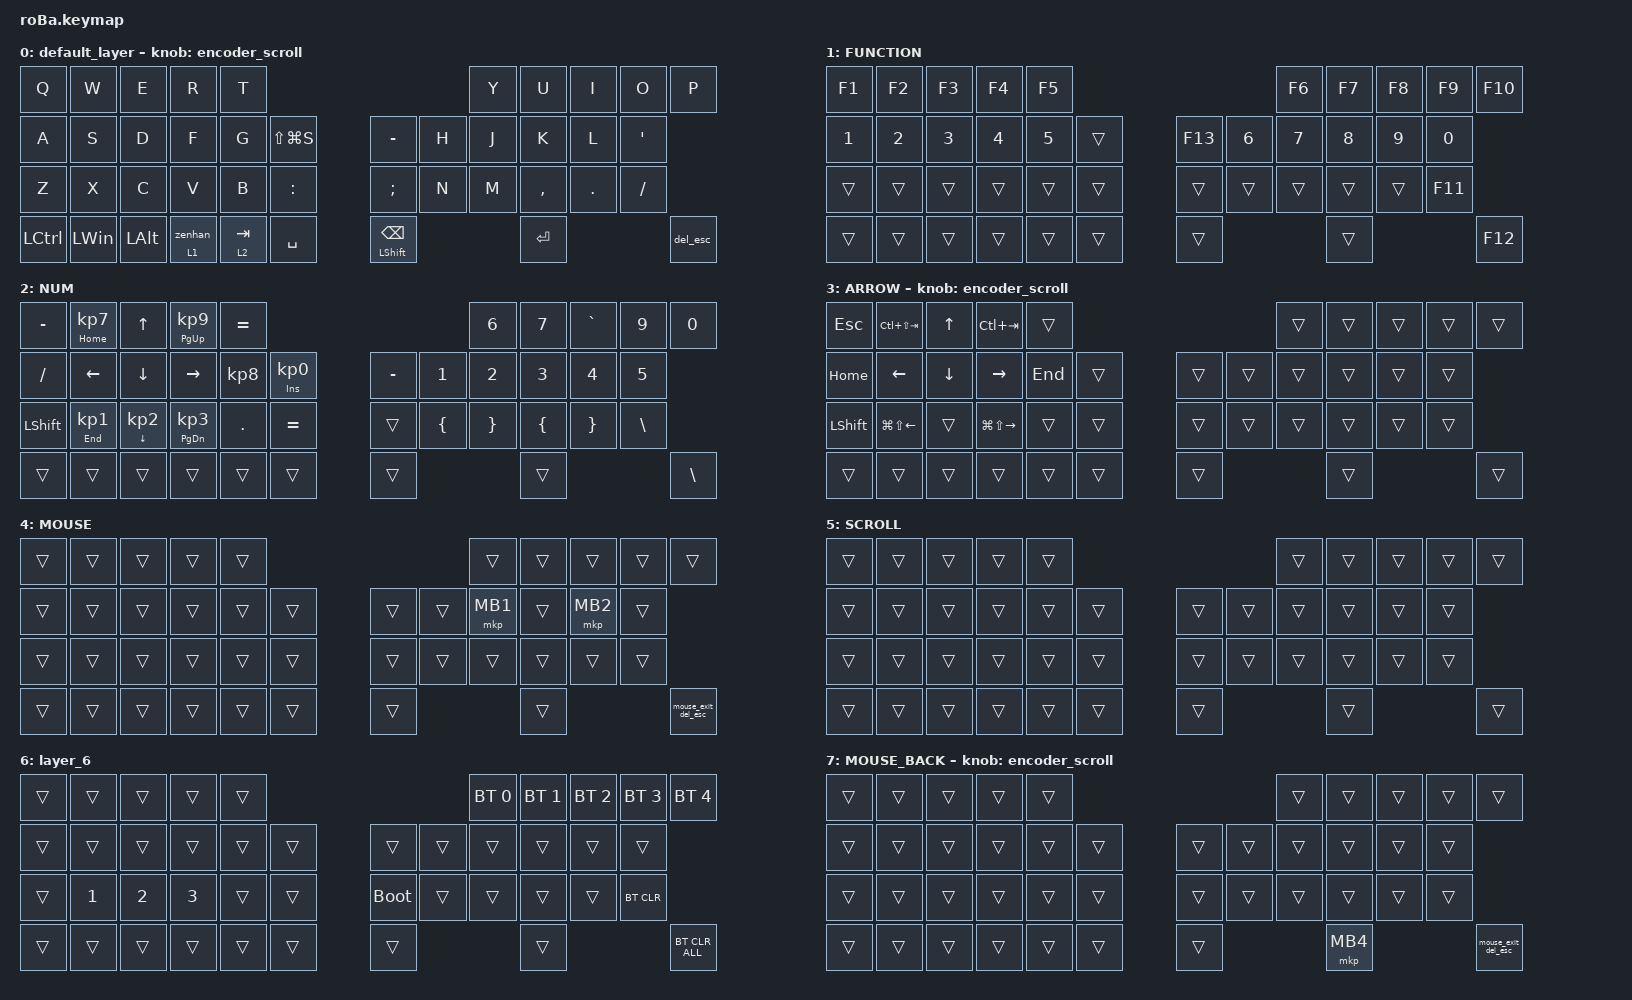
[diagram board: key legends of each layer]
#include <behaviors.dtsi>
#include <dt-bindings/zmk/bt.h>
#include <dt-bindings/zmk/keys.h>
#include <dt-bindings/zmk/modifiers.h>

#define ZMK_POINTING_DEFAULT_SCRL_VAL 80
#include <dt-bindings/zmk/pointing.h>

&mt {
    flavor = "balanced";
    quick-tap-ms = <0>;
};

&trackball {
    automouse-layer = <4>;
    scroll-layers = <5>;

    // arrows {
    //     layers = <3>;
    //     bindings =
    //         <&kp RIGHT_ARROW>,
    //         <&kp LEFT_ARROW>,
    //         <&kp UP_ARROW>,
    //         <&kp DOWN_ARROW>;

    //     tick = <10>;
    //     wait-ms = <5>;
    //     tap-ms = <5>;
    // };
};

/ {
    combos {
        compatible = "zmk,combos";

        tab {
            bindings = <&kp TAB>;
            key-positions = <11 12>;
        };

        shift_tab {
            bindings = <&kp LS(TAB)>;
            key-positions = <12 13>;
        };

        muhennkann {
            bindings = <&to_layer_0 INT_MUHENKAN>;
            key-positions = <11 10>;
        };

        double_quotation {
            bindings = <&kp DOUBLE_QUOTES>;
            key-positions = <20 21>;
        };

        eq {
            bindings = <&kp EQUAL>;
            key-positions = <24 25>;
        };
    };

    macros {
        zenhan: zenhan {
            compatible = "zmk,behavior-macro";
            #binding-cells = <0>;
            wait-ms = <40>;
            tap-ms = <40>;
            bindings = <&macro_press &kp LEFT_ALT &macro_tap &kp GRAVE &macro_release &kp LEFT_ALT>;
            label = "ZENHAN";
        };

        to_layer_0: to_layer_0 {
            compatible = "zmk,behavior-macro-one-param";
            #binding-cells = <1>;
            bindings = <&to 0 &macro_param_1to1 &kp MACRO_PLACEHOLDER>;
            label = "TO_LAYER_0";
        };
    };

    behaviors {
    lt_to_layer_0: lt_to_layer_0 {
        compatible = "zmk,behavior-hold-tap";
        label = "LAYER_TAP_TO_0";
        bindings = <&mo>, <&to_layer_0>;
        #binding-cells = <2>;
        tapping-term-ms = <200>;
    };

    zenhan_layer: zenhan_layer {
        compatible = "zmk,behavior-hold-tap";
        label = "ZENHAN_LAYER";
        bindings = <&mo>, <&zenhan>;
        #binding-cells = <2>;
        flavor = "tap-preferred";
        tapping-term-ms = <200>;
        quick-tap-ms = <0>;
    };

    backspace_shift: backspace_shift {
        compatible = "zmk,behavior-hold-tap";
        label = "BACKSPACE_SHIFT";
        bindings = <&kp>, <&kp>;
        #binding-cells = <2>;
        flavor = "hold-preferred";
        tapping-term-ms = <100>;
        quick-tap-ms = <200>;
    };

    del_esc: delete_escape {
        compatible = "zmk,behavior-mod-morph";
        label = "DELETE_ESCAPE";
        #binding-cells = <0>;
        bindings = <&kp DEL>, <&kp ESCAPE>;
        mods = <(MOD_LSFT|MOD_RSFT)>;
    };

    mouse_exit_del_esc: mouse_exit_delete_escape {
        compatible = "zmk,behavior-mod-morph";
        label = "MOUSE_EXIT_DELETE_ESCAPE";
        #binding-cells = <0>;
        bindings = <&to_layer_0 DEL>, <&to_layer_0 ESCAPE>;
        mods = <(MOD_LSFT|MOD_RSFT)>;
    };

    encoder_scroll: encoder_scroll {
    compatible = "zmk,behavior-sensor-rotate";
    label = "ENCODER_SCROLL";
    #sensor-binding-cells = <0>;
    bindings = <&msc SCRL_DOWN>, <&msc SCRL_UP>;
    tap-ms = <20>;
};
};

    keymap {
        compatible = "zmk,keymap";

        default_layer {
            bindings = <
&kp Q                       &kp W         &kp E         &kp R                        &kp T                                                          &kp Y        &kp U  &kp I      &kp O    &kp P
&kp A             &kp S         &kp D         &kp F                        &kp G        &kp LS(LG(S))                      &kp MINUS      &kp H        &kp J  &kp K      &kp L    &kp SQT
&kp Z             &kp X         &kp C         &kp V                        &kp B        &kp COLON                          &kp SEMICOLON  &kp N        &kp M  &kp COMMA  &kp DOT  &kp SLASH
&kp LCTRL         &kp LEFT_WIN  &kp LEFT_ALT  &zenhan_layer 1 0            &lt 2 TAB    &kp SPACE                           &backspace_shift LEFT_SHIFT BACKSPACE  &kp ENTER                  &del_esc
            >;

            sensor-bindings = <&encoder_scroll>;
        };

        FUNCTION {
            bindings = <
&kp F1  &kp F2  &kp F3  &kp F4  &kp F5                       &kp F6  &kp F7  &kp F8  &kp F9  &kp F10
&kp NUMBER_1  &kp NUMBER_2  &kp NUMBER_3  &kp NUMBER_4  &kp NUMBER_5  &trans      &kp F13  &kp NUMBER_6  &kp NUMBER_7  &kp NUMBER_8  &kp NUMBER_9  &kp NUMBER_0
&trans  &trans  &trans  &trans  &trans  &trans      &trans   &trans  &trans  &trans  &trans  &kp F11
&trans  &trans  &trans  &trans  &trans  &trans      &trans   &trans                          &kp F12
            >;
FUNCTION {
    bindings = <
        /* 現在のキー設定 */
    >;

    sensor-bindings = <&encoder_scroll>;
};
        };

        NUM {
            bindings = <
&kp MINUS       &mt HOME KP_NUMBER_7  &kp UP_ARROW  &mt PAGE_UP KP_NUMBER_9  &kp EQUAL                                                   &kp NUMBER_6  &kp NUMBER_7      &kp GRAVE       &kp NUMBER_9  &kp NUMBER_0
&kp SLASH       &kp LEFT_ARROW  &kp DOWN_ARROW  &kp RIGHT_ARROW  &kp KP_NUMBER_8  &mt INSERT KP_NUMBER_0      &kp MINUS     &kp NUMBER_1      &kp NUMBER_2     &kp NUMBER_3  &kp NUMBER_4      &kp NUMBER_5
&kp LEFT_SHIFT  &mt END KP_NUMBER_1   &mt DOWN_ARROW KP_NUMBER_2  &mt PAGE_DOWN KP_NUMBER_3  &kp PERIOD    &kp EQUAL                    &trans        &kp LEFT_BRACE    &kp RIGHT_BRACE   &kp LEFT_BRACE  &kp RIGHT_BRACE   &kp BACKSLASH
&trans          &trans                &trans                       &trans                     &trans        &trans                       &trans        &trans                                                                 &kp BACKSLASH
            >;
NUM {
    bindings = <
        /* 現在のキー設定 */
    >;

    sensor-bindings = <&encoder_scroll>;
};
        };

        ARROW {
            bindings = <
&kp ESCAPE      &kp LC(LS(TAB))         &kp UP_ARROW    &kp LC(TAB)              &trans                       &trans  &trans  &trans  &trans  &trans
&kp HOME        &kp LEFT_ARROW          &kp DOWN_ARROW  &kp RIGHT_ARROW          &kp END  &trans      &trans  &trans  &trans  &trans  &trans  &trans
&kp LEFT_SHIFT  &kp LG(LS(LEFT_ARROW))  &trans          &kp LG(LS(RIGHT_ARROW))  &trans   &trans      &trans  &trans  &trans  &trans  &trans  &trans
&trans          &trans                  &trans          &trans                   &trans   &trans      &trans  &trans                          &trans
            >;
ARROW {
    bindings = <
        /* 現在のキー設定 */
    >;

    sensor-bindings = <&encoder_scroll>;
};

            sensor-bindings = <&encoder_scroll>;
        };

        MOUSE {
    bindings = <
&trans &trans &trans &trans &trans &trans &trans &trans &trans &trans

&trans &trans &trans &trans &trans &trans &trans &trans &mkp MB1 &trans &mkp MB2 &trans

&trans &trans &trans &trans &trans &trans &trans &trans &trans &trans &trans &trans

&trans &trans &trans &trans &trans &trans &trans &trans &mouse_exit_del_esc
    >;
MOUSE {
    bindings = <
        /* 現在のマウスクリック設定 */
    >;

    sensor-bindings = <&encoder_scroll>;
};
};

        SCROLL {
            bindings = <
&trans  &trans  &trans  &trans  &trans                      &trans  &trans  &trans  &trans  &trans
&trans  &trans  &trans  &trans  &trans  &trans      &trans  &trans  &trans  &trans  &trans  &trans
&trans  &trans  &trans  &trans  &trans  &trans      &trans  &trans  &trans  &trans  &trans  &trans
&trans  &trans  &trans  &trans  &trans  &trans      &trans  &trans                          &trans
            >;
SCROLL {
    bindings = <
        /* 現在のキー設定 */
    >;

    sensor-bindings = <&encoder_scroll>;
};
        };

        layer_6 {
            bindings = <
&trans  &trans        &trans        &trans        &trans                           &bt BT_SEL 0  &bt BT_SEL 1  &bt BT_SEL 2  &bt BT_SEL 3  &bt BT_SEL 4
&trans  &trans        &trans        &trans        &trans  &trans      &trans       &trans        &trans        &trans        &trans        &trans
&trans  &kp NUMBER_1  &kp NUMBER_2  &kp NUMBER_3  &trans  &trans      &bootloader  &trans        &trans        &trans        &trans        &bt BT_CLR
&trans  &trans        &trans        &trans        &trans  &trans      &trans       &trans                                                  &bt BT_CLR_ALL
            >;
layer_6 {
    bindings = <
        /* 現在のBluetoothなどの設定 */
    >;

    sensor-bindings = <&encoder_scroll>;
};
        };

        MOUSE_BACK {
            bindings = <
&trans  &trans  &trans  &trans  &trans                      &trans  &trans  &trans  &trans  &trans
&trans  &trans  &trans  &trans  &trans  &trans      &trans  &trans  &trans  &trans  &trans  &trans
&trans  &trans  &trans  &trans  &trans  &trans      &trans  &trans  &trans  &trans  &trans  &trans
&trans  &trans  &trans  &trans  &trans  &trans      &trans  &mkp MB4                        &mouse_exit_del_esc
            >;

            sensor-bindings = <&encoder_scroll>;
        };
    };
};
